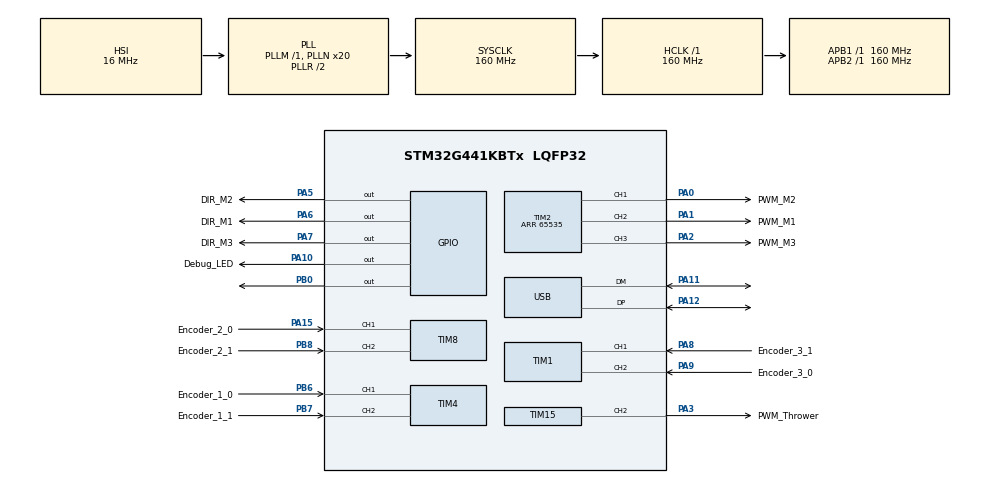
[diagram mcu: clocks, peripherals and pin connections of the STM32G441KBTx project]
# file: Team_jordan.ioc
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Mcu.Family=STM32G4
Mcu.Name=STM32G441KBTx
Mcu.Package=LQFP32
NVIC.PriorityGroup=NVIC_PRIORITYGROUP_4
NVIC.TIM6_DAC_IRQn=true\:0\:0\:false\:false\:true\:true\:true
NVIC.USB_LP_IRQn=true\:0\:0\:false\:false\:true\:false\:true
PA0.GPIO_Label=PWM_M2
PA0.Signal=S_TIM2_CH1
PA1.GPIO_Label=PWM_M1
PA1.Signal=S_TIM2_CH2
PA10.GPIO_Label=Debug_LED
PA10.Signal=GPIO_Output
PA11.Mode=Device
PA11.Signal=USB_DM
PA12.Mode=Device
PA12.Signal=USB_DP
PA13.Mode=Serial_Wire
PA13.Signal=SYS_JTMS-SWDIO
PA14.Mode=Serial_Wire
PA14.Signal=SYS_JTCK-SWCLK
PA15.GPIO_Label=Encoder_2_0
PA15.Signal=S_TIM8_CH1
PA2.GPIO_Label=PWM_M3
PA2.Signal=S_TIM2_CH3
PA3.GPIO_Label=PWM_Thrower
PA3.Signal=S_TIM15_CH2
PA5.GPIO_Label=DIR_M2
PA5.Signal=GPIO_Output
PA6.GPIO_Label=DIR_M1
PA6.Signal=GPIO_Output
PA7.GPIO_Label=DIR_M3
PA7.Signal=GPIO_Output
PA8.GPIO_Label=Encoder_3_1
PA8.Signal=S_TIM1_CH1
PA9.GPIO_Label=Encoder_3_0
PA9.Signal=S_TIM1_CH2
PB0.Signal=GPIO_Output
PB6.GPIO_Label=Encoder_1_0
PB6.Signal=S_TIM4_CH1
PB7.GPIO_Label=Encoder_1_1
PB7.Signal=S_TIM4_CH2
PB8-BOOT0.GPIO_Label=Encoder_2_1
PB8-BOOT0.Signal=S_TIM8_CH2
ProjectManager.HeapSize=0x200
ProjectManager.StackSize=0x400
ProjectManager.TargetToolchain=STM32CubeIDE
RCC.ADC12Freq_Value=160000000
RCC.AHBFreq_Value=160000000
RCC.APB1Freq_Value=160000000
RCC.APB1TimFreq_Value=160000000
RCC.APB2Freq_Value=160000000
RCC.APB2TimFreq_Value=160000000
RCC.CK48CLockSelection=RCC_USBCLKSOURCE_HSI48
RCC.CortexFreq_Value=160000000
RCC.EXTERNAL_CLOCK_VALUE=12288000
RCC.HCLKFreq_Value=160000000
RCC.HSE_VALUE=8000000
RCC.HSI48_VALUE=48000000
RCC.HSI_VALUE=16000000
RCC.LSE_VALUE=32768
RCC.PLLN=20
RCC.PLLQ=RCC_PLLQ_DIV4
RCC.SYSCLKFreq_VALUE=160000000
RCC.SYSCLKSource=RCC_SYSCLKSOURCE_PLLCLK
RCC.USBFreq_Value=48000000
RCC.VCOOutputFreq_Value=320000000
SH.S_TIM15_CH2.0=TIM15_CH2,PWM Generation2 CH2
SH.S_TIM1_CH1.0=TIM1_CH1,Encoder_Interface
SH.S_TIM1_CH2.0=TIM1_CH2,Encoder_Interface
SH.S_TIM2_CH1.0=TIM2_CH1,PWM Generation1 CH1
SH.S_TIM2_CH2.0=TIM2_CH2,PWM Generation2 CH2
SH.S_TIM2_CH3.0=TIM2_CH3,PWM Generation3 CH3
SH.S_TIM4_CH1.0=TIM4_CH1,Encoder_Interface
SH.S_TIM4_CH2.0=TIM4_CH2,Encoder_Interface
SH.S_TIM8_CH1.0=TIM8_CH1,Encoder_Interface
SH.S_TIM8_CH2.0=TIM8_CH2,Encoder_Interface
TIM1.EncoderMode=TIM_ENCODERMODE_TI12
TIM15.Channel-PWM\ Generation2\ CH2=TIM_CHANNEL_2
TIM15.PeriodNoDither=63999
TIM15.Prescaler=49
TIM2.Channel-PWM\ Generation1\ CH1=TIM_CHANNEL_1
TIM2.Channel-PWM\ Generation2\ CH2=TIM_CHANNEL_2
TIM2.Channel-PWM\ Generation3\ CH3=TIM_CHANNEL_3
TIM2.PeriodNoDither=65535
TIM4.EncoderMode=TIM_ENCODERMODE_TI12
TIM6.PeriodNoDither=63999
TIM6.Prescaler=24
TIM8.EncoderMode=TIM_ENCODERMODE_TI12
USB_DEVICE.CLASS_NAME_FS=CDC
USB_DEVICE.VirtualMode=Cdc
USB_DEVICE.VirtualModeFS=Cdc_FS
VP_SYS_VS_DBSignals.Mode=DisableDeadBatterySignals
VP_TIM6_VS_ClockSourceINT.Mode=Enable_Timer
VP_USB_DEVICE_VS_USB_DEVICE_CDC_FS.Mode=CDC_FS
board=custom

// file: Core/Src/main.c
/* USER CODE BEGIN Header */
/**
  ******************************************************************************
  * @file           : main.c
  * @brief          : Main program body
  ******************************************************************************
  * @attention
  *
  * <h2><center>&copy; Copyright (c) 2021 STMicroelectronics.
  * All rights reserved.</center></h2>
  *
  * This software component is licensed by ST under BSD 3-Clause license,
  * the "License"; You may not use this file except in compliance with the
  * License. You may obtain a copy of the License at:
  *                        opensource.org/licenses/BSD-3-Clause
  *
  ******************************************************************************
  */
/* USER CODE END Header */
#include "main.h"
#include "usb_device.h"

/* USER CODE BEGIN Includes */
#include "usbd_cdc_if.h"
/* USER CODE END Includes */

TIM_HandleTypeDef htim1;
TIM_HandleTypeDef htim2;
TIM_HandleTypeDef htim4;
TIM_HandleTypeDef htim6;
TIM_HandleTypeDef htim8;
TIM_HandleTypeDef htim15;

void SystemClock_Config(void);
static void MX_GPIO_Init(void);
static void MX_TIM2_Init(void);
static void MX_TIM1_Init(void);
static void MX_TIM4_Init(void);
static void MX_TIM8_Init(void);
static void MX_TIM15_Init(void);
static void MX_TIM6_Init(void);

/* USER CODE BEGIN 0 */

 //Frequency Register f_main = 160MHz  ARR = 65535  -> f_main/ARR ~2444
int16_t P_factor = 2500;
int16_t D_factor = 10;
int16_t I_factor = 2;

int32_t cumulativeError_M1 = 0;
int32_t cumulativeError_M2 = 0;
int32_t cumulativeError_M3 = 0;

typedef struct Command { //
  int16_t speed1;
  int16_t speed2;
  int16_t speed3;
  uint16_t throwerSpeed;
  uint16_t delimiter; //
} Command;
Command command = {.speed1 = 0, .speed2 = 0, .speed3 = 0, .throwerSpeed = 0, .delimiter = 0}; // (4)

typedef struct Feedback { //
  int16_t speed1;
  int16_t speed2;
  int16_t speed3;
  uint16_t delimiter;
} Feedback;

typedef struct Setpoints { //
  int16_t speed1;
  int16_t speed2;
  int16_t speed3;
} Setpoints;
Setpoints setpoints = {.speed1 = 0, .speed2 = 0, .speed3 = 0};

typedef struct Motor_pose { //
  int16_t pose_M1;
  int16_t pose_M2;
  int16_t pose_M3;
} Motor_pose;
Motor_pose motor_pose = {.pose_M1 = 0, .pose_M2 = 0, .pose_M3 = 0};

typedef struct Motor_pose_prev { //
  int16_t pose_prev_M1;
  int16_t pose_prev_M2;
  int16_t pose_prev_M3;
} Motor_pose_prev;
Motor_pose_prev motor_pose_prev = {.pose_prev_M1 = 0, .pose_prev_M2 = 0, .pose_prev_M3 = 0};

typedef struct Motor_pose_change { //
  int16_t pose_change_M1;
  int16_t pose_change_M2;
  int16_t pose_change_M3;
} Motor_pose_change;
Motor_pose_change motor_pose_change = {.pose_change_M1 = 0, .pose_change_M2 = 0, .pose_change_M3 = 0};

typedef struct Motor_speed_send { //
	int32_t speed_send_M1;
	int32_t speed_send_M2;
	int32_t speed_send_M3;
} Motor_speed_send;
Motor_speed_send motor_speed_send = {.speed_send_M1 = 0, .speed_send_M2 = 0, .speed_send_M3 = 0};

int32_t currentError_M1  = 0;
int32_t currentError_M2 = 0;
int32_t currentError_M3 = 0;
void PID_Controller(){

	float time_call = 1/100; // this is the time between function calls

	motor_pose_change.pose_change_M1 = motor_pose.pose_M1 - motor_pose_prev.pose_prev_M1;
	motor_pose_change.pose_change_M2 = motor_pose.pose_M2 - motor_pose_prev.pose_prev_M2;
	motor_pose_change.pose_change_M3 = motor_pose.pose_M3 - motor_pose_prev.pose_prev_M3;

	currentError_M1 = setpoints.speed1 - motor_pose_change.pose_change_M1;
	currentError_M2 = setpoints.speed2 - motor_pose_change.pose_change_M2;
	currentError_M3 = setpoints.speed3 - motor_pose_change.pose_change_M3;

	cumulativeError_M1 += currentError_M1;
	cumulativeError_M2 += currentError_M2;
	cumulativeError_M3 += currentError_M3;

	motor_speed_send.speed_send_M1 = currentError_M1 * P_factor - \
			        D_factor * motor_pose_change.pose_change_M1 + \
					I_factor * cumulativeError_M1;

	motor_speed_send.speed_send_M2 = currentError_M2 * P_factor - \
			        D_factor * motor_pose_change.pose_change_M2 + \
					I_factor * cumulativeError_M2;

	motor_speed_send.speed_send_M3 = currentError_M3 * P_factor - \
			        D_factor * motor_pose_change.pose_change_M3 + \
					I_factor * cumulativeError_M3;

	motor_pose_prev.pose_prev_M1 = motor_pose.pose_M1;
	motor_pose_prev.pose_prev_M2 = motor_pose.pose_M2;
	motor_pose_prev.pose_prev_M3 = motor_pose.pose_M3;

}

void processing_values(){

	if (motor_speed_send.speed_send_M1 >= 0){
		HAL_GPIO_WritePin(DIR_M1_GPIO_Port, DIR_M1_Pin, 1);
		if (motor_speed_send.speed_send_M1 > 65535){
			motor_speed_send.speed_send_M1 = 65535;
		}
	}
	else{
		HAL_GPIO_WritePin(DIR_M1_GPIO_Port, DIR_M1_Pin, 0);
		if (motor_speed_send.speed_send_M1 < -65535){
			motor_speed_send.speed_send_M1 = -65535;
		}
		motor_speed_send.speed_send_M1 = -motor_speed_send.speed_send_M1;
	}

	if (motor_speed_send.speed_send_M2 >= 0){
		HAL_GPIO_WritePin(DIR_M2_GPIO_Port, DIR_M2_Pin, 1);
		if (motor_speed_send.speed_send_M2 > 65535){
			motor_speed_send.speed_send_M2 = 65535;
		}
	}
	else{
		HAL_GPIO_WritePin(DIR_M2_GPIO_Port, DIR_M2_Pin, 0);
		if (motor_speed_send.speed_send_M2 < -65535){
			motor_speed_send.speed_send_M2 = -65535;
		}
		motor_speed_send.speed_send_M2 = -motor_speed_send.speed_send_M2;
	}

	if (motor_speed_send.speed_send_M3 >= 0){
		HAL_GPIO_WritePin(DIR_M3_GPIO_Port, DIR_M3_Pin, 1);
		if (motor_speed_send.speed_send_M3 > 65535){
			motor_speed_send.speed_send_M3 = 65535;
		}
	}
	else{
		HAL_GPIO_WritePin(DIR_M3_GPIO_Port, DIR_M3_Pin, 0);
		if (motor_speed_send.speed_send_M3 < -65535){
			motor_speed_send.speed_send_M3 = -65535;
		}
		motor_speed_send.speed_send_M3 = -motor_speed_send.speed_send_M3;
	}

	if (cumulativeError_M1 >= 65535/I_factor) {
		cumulativeError_M1 = 65535/I_factor;
	}
	if (cumulativeError_M2 >= 65535/I_factor) {
		cumulativeError_M2 = 65535/I_factor;
	}
	if (cumulativeError_M3 >= 65535/I_factor) {
		cumulativeError_M3 = 65535/I_factor;
	}

	if (cumulativeError_M1 <= -65535/I_factor) {
		cumulativeError_M1 = -65535/I_factor;
	}
	if (cumulativeError_M2 <= -65535/I_factor) {
		cumulativeError_M2 = -65535/I_factor;
	}
	if (cumulativeError_M3 <= -65535/I_factor) {
		cumulativeError_M3 = -65535/I_factor;
	}

}

void out_put_sleep (){
	  HAL_GPIO_WritePin(GPIOB, GPIO_PIN_0, GPIO_PIN_SET);
	  for (int i = 0; i < 350; i++) {
		  __asm("nop");
	  }
	  HAL_GPIO_WritePin(GPIOB, GPIO_PIN_0, GPIO_PIN_RESET);
	  for (int i = 0; i < 350; i++) {
		  __asm("nop");
	   }
	  HAL_GPIO_WritePin(GPIOB, GPIO_PIN_0, GPIO_PIN_SET);
}

void HAL_TIM_PeriodElapsedCallback(TIM_HandleTypeDef *htim) {

	// ################# read Encoder values ##################
	motor_pose.pose_M1 = (int16_t)TIM4->CNT;
	motor_pose.pose_M2 = (int16_t)TIM8->CNT;
	motor_pose.pose_M3 = (int16_t)TIM1->CNT;

	// scale the value

	PID_Controller();	 // calculate velocities based on a PID controller
	processing_values(); // direction control

	// changes duty cycle of the motors
	TIM2->CCR2 = motor_speed_send.speed_send_M1;
 	TIM2->CCR1 = motor_speed_send.speed_send_M2;
	TIM2->CCR3 = motor_speed_send.speed_send_M3;

}

volatile uint8_t isCommandReceived = 0; // (5)

void CDC_On_Receive(uint8_t* buffer, uint32_t* length) {
	// for testing the serial communication
  if (*length == sizeof(Command)) {
    memcpy(&command, buffer, sizeof(Command));

    if (command.delimiter == 0xAAAA) {
      isCommandReceived = 1;
    }
  }
}
/* USER CODE END 0 */

int main(void)
{

  /* MCU Configuration--------------------------------------------------------*/

  /* Reset of all peripherals, Initializes the Flash interface and the Systick. */
  HAL_Init();

  /* Configure the system clock */
  SystemClock_Config();

  /* Initialize all configured peripherals */
  MX_GPIO_Init();
  MX_TIM2_Init();
  MX_TIM1_Init();
  MX_TIM4_Init();
  MX_TIM8_Init();
  MX_TIM15_Init();
  MX_USB_Device_Init();
  MX_TIM6_Init();
  /* USER CODE BEGIN 2 */

  Feedback feedback = { // (1)
      .speed1 = 0,
      .speed2 = 0,
      .speed3 = 0,
      .delimiter = 0xAAAA
  };
  HAL_TIM_Encoder_Start(&htim1, TIM_CHANNEL_1 | TIM_CHANNEL_2); // Encoder 1
  HAL_TIM_Encoder_Start(&htim4, TIM_CHANNEL_1 | TIM_CHANNEL_2); // Encoder 2
  HAL_TIM_Encoder_Start(&htim8, TIM_CHANNEL_1 | TIM_CHANNEL_2);	// Encoder 3
  HAL_TIM_PWM_Start(&htim2, TIM_CHANNEL_1);	// Motor 2
  HAL_TIM_PWM_Start(&htim2, TIM_CHANNEL_2); // Motor 1
  HAL_TIM_PWM_Start(&htim2, TIM_CHANNEL_3); // Motor 3
  HAL_TIM_PWM_Start(&htim15, TIM_CHANNEL_2); // thrower motor
  HAL_TIM_Base_Start_IT(&htim6); // Timer for which indicates when to update the motor speeds

  /* USER CODE END 2 */

  /* Infinite loop */
  /* USER CODE BEGIN WHILE */

HAL_GPIO_TogglePin(Debug_LED_GPIO_Port, Debug_LED_Pin); // (3)
HAL_Delay(200);
HAL_GPIO_TogglePin(Debug_LED_GPIO_Port, Debug_LED_Pin); // (3)
HAL_Delay(200);
HAL_GPIO_TogglePin(Debug_LED_GPIO_Port, Debug_LED_Pin); // (3)

//HAL_GPIO_WritePin(DIR_M1_GPIO_Port, DIR_M1_Pin,1);
//HAL_GPIO_WritePin(DIR_M2_GPIO_Port, DIR_M2_Pin,1);
//HAL_GPIO_WritePin(DIR_M3_GPIO_Port, DIR_M3_Pin,1);

//TIM2->CCR1 = 9000;
//TIM2->CCR2 = 9600;
//TIM2->CCR3 = 9500;

TIM15->CCR2 = 3000; // for initialization of the ESP 3000 -> below 1 ms

  while (1)
  {
    /* USER CODE END WHILE */

    /* USER CODE BEGIN 3 */
	    if (isCommandReceived) {
	      isCommandReceived = 0;
	      TIM15->CCR2 = command.throwerSpeed;

	      HAL_GPIO_TogglePin(Debug_LED_GPIO_Port, Debug_LED_Pin); // (3)
//	      HAL_Delay(3);
//	      HAL_GPIO_TogglePin(Debug_LED_GPIO_Port, Debug_LED_Pin); // (3)

	      out_put_sleep();	 // nSleep control
	      setpoints.speed1 = command.speed1;
	      setpoints.speed2 = command.speed2;
	      setpoints.speed3 = command.speed3;

	      feedback.speed1 = motor_pose_change.pose_change_M3; // -> is motor pose 1
	      feedback.speed2 = currentError_M3; // -> is motor pose 2
	      feedback.speed3 = motor_speed_send.speed_send_M3; // -> is motor pose 3

//		  TIM2->CCR2 = command.speed1;
//		  TIM2->CCR1 = command.speed2;
//		  TIM2->CCR3 = command.speed3;

	      CDC_Transmit_FS(&feedback, sizeof(feedback));
	    }
  	  }
  /* USER CODE END 3 */
}

void SystemClock_Config(void)
{
  RCC_OscInitTypeDef RCC_OscInitStruct = {0};
  RCC_ClkInitTypeDef RCC_ClkInitStruct = {0};
  RCC_PeriphCLKInitTypeDef PeriphClkInit = {0};

  /** Configure the main internal regulator output voltage
  */
  HAL_PWREx_ControlVoltageScaling(PWR_REGULATOR_VOLTAGE_SCALE1_BOOST);
  /** Initializes the RCC Oscillators according to the specified parameters
  * in the RCC_OscInitTypeDef structure.
  */
  RCC_OscInitStruct.OscillatorType = RCC_OSCILLATORTYPE_HSI|RCC_OSCILLATORTYPE_HSI48;
  RCC_OscInitStruct.HSIState = RCC_HSI_ON;
  RCC_OscInitStruct.HSICalibrationValue = RCC_HSICALIBRATION_DEFAULT;
  RCC_OscInitStruct.HSI48State = RCC_HSI48_ON;
  RCC_OscInitStruct.PLL.PLLState = RCC_PLL_ON;
  RCC_OscInitStruct.PLL.PLLSource = RCC_PLLSOURCE_HSI;
  RCC_OscInitStruct.PLL.PLLM = RCC_PLLM_DIV1;
  RCC_OscInitStruct.PLL.PLLN = 20;
  RCC_OscInitStruct.PLL.PLLP = RCC_PLLP_DIV2;
  RCC_OscInitStruct.PLL.PLLQ = RCC_PLLQ_DIV4;
  RCC_OscInitStruct.PLL.PLLR = RCC_PLLR_DIV2;
  if (HAL_RCC_OscConfig(&RCC_OscInitStruct) != HAL_OK)
  {
    Error_Handler();
  }
  /** Initializes the CPU, AHB and APB buses clocks
  */
  RCC_ClkInitStruct.ClockType = RCC_CLOCKTYPE_HCLK|RCC_CLOCKTYPE_SYSCLK
                              |RCC_CLOCKTYPE_PCLK1|RCC_CLOCKTYPE_PCLK2;
  RCC_ClkInitStruct.SYSCLKSource = RCC_SYSCLKSOURCE_PLLCLK;
  RCC_ClkInitStruct.AHBCLKDivider = RCC_SYSCLK_DIV1;
  RCC_ClkInitStruct.APB1CLKDivider = RCC_HCLK_DIV1;
  RCC_ClkInitStruct.APB2CLKDivider = RCC_HCLK_DIV1;

  if (HAL_RCC_ClockConfig(&RCC_ClkInitStruct, FLASH_LATENCY_4) != HAL_OK)
  {
    Error_Handler();
  }
  /** Initializes the peripherals clocks
  */
  PeriphClkInit.PeriphClockSelection = RCC_PERIPHCLK_USB;
  PeriphClkInit.UsbClockSelection = RCC_USBCLKSOURCE_HSI48;
  if (HAL_RCCEx_PeriphCLKConfig(&PeriphClkInit) != HAL_OK)
  {
    Error_Handler();
  }
}

static void MX_TIM1_Init(void)
{

  TIM_Encoder_InitTypeDef sConfig = {0};
  TIM_MasterConfigTypeDef sMasterConfig = {0};

  htim1.Instance = TIM1;
  htim1.Init.Prescaler = 0;
  htim1.Init.CounterMode = TIM_COUNTERMODE_UP;
  htim1.Init.Period = 65535;
  htim1.Init.ClockDivision = TIM_CLOCKDIVISION_DIV1;
  htim1.Init.RepetitionCounter = 0;
  htim1.Init.AutoReloadPreload = TIM_AUTORELOAD_PRELOAD_DISABLE;
  sConfig.EncoderMode = TIM_ENCODERMODE_TI12;
  sConfig.IC1Polarity = TIM_ICPOLARITY_RISING;
  sConfig.IC1Selection = TIM_ICSELECTION_DIRECTTI;
  sConfig.IC1Prescaler = TIM_ICPSC_DIV1;
  sConfig.IC1Filter = 0;
  sConfig.IC2Polarity = TIM_ICPOLARITY_RISING;
  sConfig.IC2Selection = TIM_ICSELECTION_DIRECTTI;
  sConfig.IC2Prescaler = TIM_ICPSC_DIV1;
  sConfig.IC2Filter = 0;
  if (HAL_TIM_Encoder_Init(&htim1, &sConfig) != HAL_OK)
  {
    Error_Handler();
  }
  sMasterConfig.MasterOutputTrigger = TIM_TRGO_RESET;
  sMasterConfig.MasterOutputTrigger2 = TIM_TRGO2_RESET;
  sMasterConfig.MasterSlaveMode = TIM_MASTERSLAVEMODE_DISABLE;
  if (HAL_TIMEx_MasterConfigSynchronization(&htim1, &sMasterConfig) != HAL_OK)
  {
    Error_Handler();
  }

}

static void MX_TIM2_Init(void)
{

  TIM_MasterConfigTypeDef sMasterConfig = {0};
  TIM_OC_InitTypeDef sConfigOC = {0};

  htim2.Instance = TIM2;
  htim2.Init.Prescaler = 0;
  htim2.Init.CounterMode = TIM_COUNTERMODE_UP;
  htim2.Init.Period = 65535;
  htim2.Init.ClockDivision = TIM_CLOCKDIVISION_DIV1;
  htim2.Init.AutoReloadPreload = TIM_AUTORELOAD_PRELOAD_DISABLE;
  if (HAL_TIM_PWM_Init(&htim2) != HAL_OK)
  {
    Error_Handler();
  }
  sMasterConfig.MasterOutputTrigger = TIM_TRGO_RESET;
  sMasterConfig.MasterSlaveMode = TIM_MASTERSLAVEMODE_DISABLE;
  if (HAL_TIMEx_MasterConfigSynchronization(&htim2, &sMasterConfig) != HAL_OK)
  {
    Error_Handler();
  }
  sConfigOC.OCMode = TIM_OCMODE_PWM1;
  sConfigOC.Pulse = 0;
  sConfigOC.OCPolarity = TIM_OCPOLARITY_HIGH;
  sConfigOC.OCFastMode = TIM_OCFAST_DISABLE;
  if (HAL_TIM_PWM_ConfigChannel(&htim2, &sConfigOC, TIM_CHANNEL_1) != HAL_OK)
  {
    Error_Handler();
  }
  if (HAL_TIM_PWM_ConfigChannel(&htim2, &sConfigOC, TIM_CHANNEL_2) != HAL_OK)
  {
    Error_Handler();
  }
  if (HAL_TIM_PWM_ConfigChannel(&htim2, &sConfigOC, TIM_CHANNEL_3) != HAL_OK)
  {
    Error_Handler();
  }
  HAL_TIM_MspPostInit(&htim2);

}

static void MX_TIM4_Init(void)
{

  TIM_Encoder_InitTypeDef sConfig = {0};
  TIM_MasterConfigTypeDef sMasterConfig = {0};

  htim4.Instance = TIM4;
  htim4.Init.Prescaler = 0;
  htim4.Init.CounterMode = TIM_COUNTERMODE_UP;
  htim4.Init.Period = 65535;
  htim4.Init.ClockDivision = TIM_CLOCKDIVISION_DIV1;
  htim4.Init.AutoReloadPreload = TIM_AUTORELOAD_PRELOAD_DISABLE;
  sConfig.EncoderMode = TIM_ENCODERMODE_TI12;
  sConfig.IC1Polarity = TIM_ICPOLARITY_RISING;
  sConfig.IC1Selection = TIM_ICSELECTION_DIRECTTI;
  sConfig.IC1Prescaler = TIM_ICPSC_DIV1;
  sConfig.IC1Filter = 0;
  sConfig.IC2Polarity = TIM_ICPOLARITY_RISING;
  sConfig.IC2Selection = TIM_ICSELECTION_DIRECTTI;
  sConfig.IC2Prescaler = TIM_ICPSC_DIV1;
  sConfig.IC2Filter = 0;
  if (HAL_TIM_Encoder_Init(&htim4, &sConfig) != HAL_OK)
  {
    Error_Handler();
  }
  sMasterConfig.MasterOutputTrigger = TIM_TRGO_RESET;
  sMasterConfig.MasterSlaveMode = TIM_MASTERSLAVEMODE_DISABLE;
  if (HAL_TIMEx_MasterConfigSynchronization(&htim4, &sMasterConfig) != HAL_OK)
  {
    Error_Handler();
  }

}

static void MX_TIM6_Init(void)
{

  TIM_MasterConfigTypeDef sMasterConfig = {0};

  htim6.Instance = TIM6;
  htim6.Init.Prescaler = 24;
  htim6.Init.CounterMode = TIM_COUNTERMODE_UP;
  htim6.Init.Period = 63999;
  htim6.Init.AutoReloadPreload = TIM_AUTORELOAD_PRELOAD_DISABLE;
  if (HAL_TIM_Base_Init(&htim6) != HAL_OK)
  {
    Error_Handler();
  }
  sMasterConfig.MasterOutputTrigger = TIM_TRGO_RESET;
  sMasterConfig.MasterSlaveMode = TIM_MASTERSLAVEMODE_DISABLE;
  if (HAL_TIMEx_MasterConfigSynchronization(&htim6, &sMasterConfig) != HAL_OK)
  {
    Error_Handler();
  }

}

static void MX_TIM8_Init(void)
{

  TIM_Encoder_InitTypeDef sConfig = {0};
  TIM_MasterConfigTypeDef sMasterConfig = {0};

  htim8.Instance = TIM8;
  htim8.Init.Prescaler = 0;
  htim8.Init.CounterMode = TIM_COUNTERMODE_UP;
  htim8.Init.Period = 65535;
  htim8.Init.ClockDivision = TIM_CLOCKDIVISION_DIV1;
  htim8.Init.RepetitionCounter = 0;
  htim8.Init.AutoReloadPreload = TIM_AUTORELOAD_PRELOAD_DISABLE;
  sConfig.EncoderMode = TIM_ENCODERMODE_TI12;
  sConfig.IC1Polarity = TIM_ICPOLARITY_RISING;
  sConfig.IC1Selection = TIM_ICSELECTION_DIRECTTI;
  sConfig.IC1Prescaler = TIM_ICPSC_DIV1;
  sConfig.IC1Filter = 0;
  sConfig.IC2Polarity = TIM_ICPOLARITY_RISING;
  sConfig.IC2Selection = TIM_ICSELECTION_DIRECTTI;
  sConfig.IC2Prescaler = TIM_ICPSC_DIV1;
  sConfig.IC2Filter = 0;
  if (HAL_TIM_Encoder_Init(&htim8, &sConfig) != HAL_OK)
  {
    Error_Handler();
  }
  sMasterConfig.MasterOutputTrigger = TIM_TRGO_RESET;
  sMasterConfig.MasterOutputTrigger2 = TIM_TRGO2_RESET;
  sMasterConfig.MasterSlaveMode = TIM_MASTERSLAVEMODE_DISABLE;
  if (HAL_TIMEx_MasterConfigSynchronization(&htim8, &sMasterConfig) != HAL_OK)
  {
    Error_Handler();
  }

}

static void MX_TIM15_Init(void)
{

  TIM_MasterConfigTypeDef sMasterConfig = {0};
  TIM_OC_InitTypeDef sConfigOC = {0};
  TIM_BreakDeadTimeConfigTypeDef sBreakDeadTimeConfig = {0};

  htim15.Instance = TIM15;
  htim15.Init.Prescaler = 49;
  htim15.Init.CounterMode = TIM_COUNTERMODE_UP;
  htim15.Init.Period = 63999;
  htim15.Init.ClockDivision = TIM_CLOCKDIVISION_DIV1;
  htim15.Init.RepetitionCounter = 0;
  htim15.Init.AutoReloadPreload = TIM_AUTORELOAD_PRELOAD_DISABLE;
  if (HAL_TIM_PWM_Init(&htim15) != HAL_OK)
  {
    Error_Handler();
  }
  sMasterConfig.MasterOutputTrigger = TIM_TRGO_RESET;
  sMasterConfig.MasterSlaveMode = TIM_MASTERSLAVEMODE_DISABLE;
  if (HAL_TIMEx_MasterConfigSynchronization(&htim15, &sMasterConfig) != HAL_OK)
  {
    Error_Handler();
  }
  sConfigOC.OCMode = TIM_OCMODE_PWM1;
  sConfigOC.Pulse = 0;
  sConfigOC.OCPolarity = TIM_OCPOLARITY_HIGH;
  sConfigOC.OCNPolarity = TIM_OCNPOLARITY_HIGH;
  sConfigOC.OCFastMode = TIM_OCFAST_DISABLE;
  sConfigOC.OCIdleState = TIM_OCIDLESTATE_RESET;
  sConfigOC.OCNIdleState = TIM_OCNIDLESTATE_RESET;
  if (HAL_TIM_PWM_ConfigChannel(&htim15, &sConfigOC, TIM_CHANNEL_2) != HAL_OK)
  {
    Error_Handler();
  }
  sBreakDeadTimeConfig.OffStateRunMode = TIM_OSSR_DISABLE;
  sBreakDeadTimeConfig.OffStateIDLEMode = TIM_OSSI_DISABLE;
  sBreakDeadTimeConfig.LockLevel = TIM_LOCKLEVEL_OFF;
  sBreakDeadTimeConfig.DeadTime = 0;
  sBreakDeadTimeConfig.BreakState = TIM_BREAK_DISABLE;
  sBreakDeadTimeConfig.BreakPolarity = TIM_BREAKPOLARITY_HIGH;
  sBreakDeadTimeConfig.BreakFilter = 0;
  sBreakDeadTimeConfig.AutomaticOutput = TIM_AUTOMATICOUTPUT_DISABLE;
  if (HAL_TIMEx_ConfigBreakDeadTime(&htim15, &sBreakDeadTimeConfig) != HAL_OK)
  {
    Error_Handler();
  }
  HAL_TIM_MspPostInit(&htim15);

}

static void MX_GPIO_Init(void)
{
  GPIO_InitTypeDef GPIO_InitStruct = {0};

  /* GPIO Ports Clock Enable */
  __HAL_RCC_GPIOA_CLK_ENABLE();
  __HAL_RCC_GPIOB_CLK_ENABLE();

  /*Configure GPIO pin Output Level */
  HAL_GPIO_WritePin(GPIOA, DIR_M2_Pin|DIR_M1_Pin|DIR_M3_Pin|Debug_LED_Pin, GPIO_PIN_RESET);

  /*Configure GPIO pin Output Level */
  HAL_GPIO_WritePin(GPIOB, GPIO_PIN_0, GPIO_PIN_RESET);

  /*Configure GPIO pins : DIR_M2_Pin DIR_M1_Pin DIR_M3_Pin Debug_LED_Pin */
  GPIO_InitStruct.Pin = DIR_M2_Pin|DIR_M1_Pin|DIR_M3_Pin|Debug_LED_Pin;
  GPIO_InitStruct.Mode = GPIO_MODE_OUTPUT_PP;
  GPIO_InitStruct.Pull = GPIO_NOPULL;
  GPIO_InitStruct.Speed = GPIO_SPEED_FREQ_LOW;
  HAL_GPIO_Init(GPIOA, &GPIO_InitStruct);

  /*Configure GPIO pin : PB0 */
  GPIO_InitStruct.Pin = GPIO_PIN_0;
  GPIO_InitStruct.Mode = GPIO_MODE_OUTPUT_PP;
  GPIO_InitStruct.Pull = GPIO_NOPULL;
  GPIO_InitStruct.Speed = GPIO_SPEED_FREQ_LOW;
  HAL_GPIO_Init(GPIOB, &GPIO_InitStruct);

}

void Error_Handler(void)
{
  __disable_irq();
  while (1)
  {
  }
}

/************************ (C) COPYRIGHT STMicroelectronics *****END OF FILE****/
